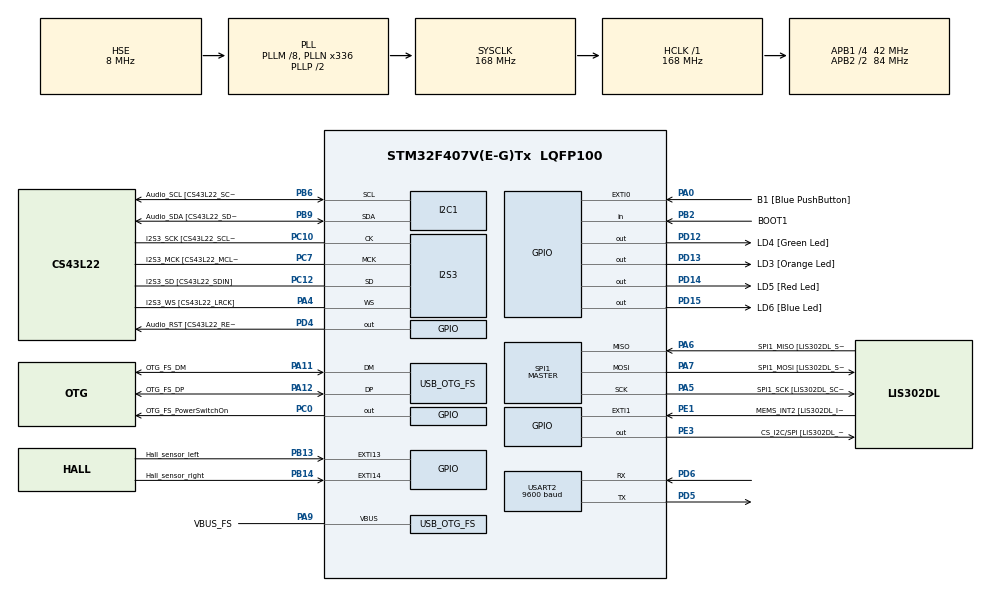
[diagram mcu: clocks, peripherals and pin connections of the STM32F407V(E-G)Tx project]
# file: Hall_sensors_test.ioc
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I2S3.AudioFreq-Half_Duplex_Master=I2S_AUDIOFREQ_96K
I2S3.ErrorAudioFreq=-2.34 %
I2S3.ErrorAudioFreq-Half_Duplex_Master=0.8 %
I2S3.FullDuplexMode=I2S_FULLDUPLEXMODE_DISABLE
I2S3.Instance=SPI$Index
I2S3.RealAudioFreq=93.75 KHz
I2S3.RealAudioFreq-Half_Duplex_Master=96.774 KHz
I2S3.VirtualMode=I2S_MODE_MASTER
Mcu.Family=STM32F4
Mcu.Name=STM32F407V(E-G)Tx
Mcu.Package=LQFP100
NVIC.EXTI15_10_IRQn=true\:0\:0\:false\:false\:true\:true\:true\:true
NVIC.OTG_FS_IRQn=true\:0\:0\:false\:false\:true\:true\:true\:true
NVIC.PriorityGroup=NVIC_PRIORITYGROUP_0
PA0-WKUP.GPIO_Label=B1 [Blue PushButton]
PA0-WKUP.GPIO_ModeDefaultEXTI=GPIO_MODE_EVT_RISING
PA0-WKUP.GPIO_PuPd=GPIO_NOPULL
PA0-WKUP.Signal=GPXTI0
PA10.GPIO_Label=OTG_FS_ID
PA10.GPIO_Mode=GPIO_MODE_AF_PP
PA10.GPIO_PuPd=GPIO_NOPULL
PA10.GPIO_Speed=GPIO_SPEED_FREQ_LOW
PA10.Signal=USB_OTG_FS_ID
PA11.GPIO_Label=OTG_FS_DM
PA11.GPIO_Mode=GPIO_MODE_AF_PP
PA11.GPIO_PuPd=GPIO_NOPULL
PA11.GPIO_Speed=GPIO_SPEED_FREQ_LOW
PA11.Mode=Host_Only
PA11.Signal=USB_OTG_FS_DM
PA12.GPIO_Label=OTG_FS_DP
PA12.GPIO_Mode=GPIO_MODE_AF_PP
PA12.GPIO_PuPd=GPIO_NOPULL
PA12.GPIO_Speed=GPIO_SPEED_FREQ_LOW
PA12.Mode=Host_Only
PA12.Signal=USB_OTG_FS_DP
PA13.GPIO_Label=SWDIO
PA13.Mode=Serial_Wire
PA13.Signal=SYS_JTMS-SWDIO
PA14.GPIO_Label=SWCLK
PA14.Mode=Serial_Wire
PA14.Signal=SYS_JTCK-SWCLK
PA4.GPIO_Label=I2S3_WS [CS43L22_LRCK]
PA4.GPIO_Mode=GPIO_MODE_AF_PP
PA4.GPIO_PuPd=GPIO_NOPULL
PA4.GPIO_Speed=GPIO_SPEED_FREQ_LOW
PA4.Mode=Half_Duplex_Master
PA4.Signal=I2S3_WS
PA5.GPIO_Label=SPI1_SCK [LIS302DL_SCL/SPC]
PA5.GPIO_Mode=GPIO_MODE_AF_PP
PA5.GPIO_PuPd=GPIO_NOPULL
PA5.GPIO_Speed=GPIO_SPEED_FREQ_LOW
PA5.Mode=Full_Duplex_Master
PA5.Signal=SPI1_SCK
PA6.GPIO_Label=SPI1_MISO [LIS302DL_SDO]
PA6.GPIO_Mode=GPIO_MODE_AF_PP
PA6.GPIO_PuPd=GPIO_NOPULL
PA6.GPIO_Speed=GPIO_SPEED_FREQ_LOW
PA6.Mode=Full_Duplex_Master
PA6.Signal=SPI1_MISO
PA7.GPIO_Label=SPI1_MOSI [LIS302DL_SDA/SDI/SDO]
PA7.GPIO_Mode=GPIO_MODE_AF_PP
PA7.GPIO_PuPd=GPIO_NOPULL
PA7.GPIO_Speed=GPIO_SPEED_FREQ_LOW
PA7.Mode=Full_Duplex_Master
PA7.Signal=SPI1_MOSI
PA9.GPIO_Label=VBUS_FS
PA9.GPIO_Mode=GPIO_MODE_INPUT
PA9.GPIO_PuPd=GPIO_NOPULL
PA9.Mode=Activate_VBUS
PA9.Signal=USB_OTG_FS_VBUS
PB10.GPIO_Label=CLK_IN [MP45DT02_CLK]
PB10.GPIO_Mode=GPIO_MODE_AF_PP
PB10.GPIO_PuPd=GPIO_NOPULL
PB10.GPIO_Speed=GPIO_SPEED_FREQ_LOW
PB10.Signal=I2S2_CK
PB13.GPIO_Label=Hall_sensor_left
PB13.GPIO_PuPd=GPIO_PULLUP
PB13.Signal=GPXTI13
PB14.GPIO_Label=Hall_sensor_right
PB14.GPIO_PuPd=GPIO_PULLUP
PB14.Signal=GPXTI14
PB2.GPIO_Label=BOOT1
PB2.GPIO_Mode=GPIO_MODE_INPUT
PB2.GPIO_PuPd=GPIO_NOPULL
PB2.Signal=GPIO_Input
PB3.GPIO_Label=SWO
PB3.Signal=SYS_JTDO-SWO
PB6.GPIO_Label=Audio_SCL [CS43L22_SCL]
PB6.GPIO_Mode=GPIO_MODE_AF_OD
PB6.GPIO_Pu=GPIO_PULLUP
PB6.GPIO_PuPd=GPIO_NOPULL
PB6.GPIO_Speed=GPIO_SPEED_FREQ_LOW
PB6.Mode=I2C
PB6.Signal=I2C1_SCL
PB9.GPIO_Label=Audio_SDA [CS43L22_SDA]
PB9.GPIO_Mode=GPIO_MODE_AF_OD
PB9.GPIO_Pu=GPIO_PULLUP
PB9.GPIO_PuPd=GPIO_NOPULL
PB9.GPIO_Speed=GPIO_SPEED_FREQ_LOW
PB9.Mode=I2C
PB9.Signal=I2C1_SDA
PC0.GPIO_Label=OTG_FS_PowerSwitchOn
PC0.GPIO_PuPd=GPIO_NOPULL
PC0.GPIO_Speed=GPIO_SPEED_FREQ_LOW
PC0.PinState=GPIO_PIN_SET
PC0.Signal=GPIO_Output
PC10.GPIO_Label=I2S3_SCK [CS43L22_SCLK]
PC10.GPIO_Mode=GPIO_MODE_AF_PP
PC10.GPIO_PuPd=GPIO_NOPULL
PC10.GPIO_Speed=GPIO_SPEED_FREQ_LOW
PC10.Mode=Half_Duplex_Master
PC10.Signal=I2S3_CK
PC12.GPIO_Label=I2S3_SD [CS43L22_SDIN]
PC12.GPIO_Mode=GPIO_MODE_AF_PP
PC12.GPIO_PuPd=GPIO_NOPULL
PC12.GPIO_Speed=GPIO_SPEED_FREQ_LOW
PC12.Mode=Half_Duplex_Master
PC12.Signal=I2S3_SD
PC14-OSC32_IN.GPIO_Label=PC14-OSC32_IN
PC14-OSC32_IN.Mode=LSE-External-Oscillator
PC14-OSC32_IN.Signal=RCC_OSC32_IN
PC15-OSC32_OUT.GPIO_Label=PC15-OSC32_OUT
PC15-OSC32_OUT.Mode=LSE-External-Oscillator
PC15-OSC32_OUT.Signal=RCC_OSC32_OUT
PC3.GPIO_Label=PDM_OUT [MP45DT02_DOUT]
PC3.GPIO_Mode=GPIO_MODE_AF_PP
PC3.GPIO_PuPd=GPIO_NOPULL
PC3.GPIO_Speed=GPIO_SPEED_FREQ_LOW
PC3.Signal=I2S2_SD
PC7.GPIO_Label=I2S3_MCK [CS43L22_MCLK]
PC7.GPIO_Mode=GPIO_MODE_AF_PP
PC7.GPIO_PuPd=GPIO_NOPULL
PC7.GPIO_Speed=GPIO_SPEED_FREQ_LOW
PC7.Mode=Master_Clock_Activated
PC7.Signal=I2S3_MCK
PD12.GPIO_Label=LD4 [Green Led]
PD12.GPIO_PuPd=GPIO_NOPULL
PD12.GPIO_Speed=GPIO_SPEED_FREQ_LOW
PD12.Signal=GPIO_Output
PD13.GPIO_Label=LD3 [Orange Led]
PD13.GPIO_PuPd=GPIO_NOPULL
PD13.GPIO_Speed=GPIO_SPEED_FREQ_LOW
PD13.Signal=GPIO_Output
PD14.GPIO_Label=LD5 [Red Led]
PD14.GPIO_PuPd=GPIO_NOPULL
PD14.GPIO_Speed=GPIO_SPEED_FREQ_LOW
PD14.Signal=GPIO_Output
PD15.GPIO_Label=LD6 [Blue Led]
PD15.GPIO_PuPd=GPIO_NOPULL
PD15.GPIO_Speed=GPIO_SPEED_FREQ_LOW
PD15.Signal=GPIO_Output
PD4.GPIO_Label=Audio_RST [CS43L22_RESET]
PD4.GPIO_PuPd=GPIO_NOPULL
PD4.GPIO_Speed=GPIO_SPEED_FREQ_LOW
PD4.Signal=GPIO_Output
PD5.Mode=Asynchronous
PD5.Signal=USART2_TX
PD6.Mode=Asynchronous
PD6.Signal=USART2_RX
PE1.GPIO_Label=MEMS_INT2 [LIS302DL_INT2]
PE1.GPIO_ModeDefaultEXTI=GPIO_MODE_EVT_RISING
PE1.GPIO_PuPd=GPIO_NOPULL
PE1.Signal=GPXTI1
PE3.GPIO_Label=CS_I2C/SPI [LIS302DL_CS_I2C/SPI]
PE3.GPIO_PuPd=GPIO_NOPULL
PE3.GPIO_Speed=GPIO_SPEED_FREQ_LOW
PE3.Signal=GPIO_Output
PH0-OSC_IN.GPIO_Label=PH0-OSC_IN
PH0-OSC_IN.Mode=HSE-External-Oscillator
PH0-OSC_IN.Signal=RCC_OSC_IN
PH1-OSC_OUT.GPIO_Label=PH1-OSC_OUT
PH1-OSC_OUT.Mode=HSE-External-Oscillator
PH1-OSC_OUT.Signal=RCC_OSC_OUT
ProjectManager.HeapSize=0x200
ProjectManager.StackSize=0x400
ProjectManager.TargetToolchain=CMake
RCC.48MHZClocksFreq_Value=48000000
RCC.AHBFreq_Value=168000000
RCC.APB1CLKDivider=RCC_HCLK_DIV4
RCC.APB1Freq_Value=42000000
RCC.APB1TimFreq_Value=84000000
RCC.APB2CLKDivider=RCC_HCLK_DIV2
RCC.APB2Freq_Value=84000000
RCC.APB2TimFreq_Value=168000000
RCC.CortexFreq_Value=168000000
RCC.HCLKFreq_Value=168000000
RCC.HSE_VALUE=8000000
RCC.HSI_VALUE=16000000
RCC.PLLM=8
RCC.PLLN=336
RCC.PLLQ=7
RCC.SYSCLKFreq_VALUE=168000000
RCC.SYSCLKSource=RCC_SYSCLKSOURCE_PLLCLK
RCC.VCOOutputFreq_Value=336000000
SPI1.BaudRatePrescaler-Full_Duplex_Master=SPI_BAUDRATEPRESCALER_2
SPI1.CalculateBaudRate-Full_Duplex_Master=42.0 MBits/s
SPI1.Direction=SPI_DIRECTION_2LINES
SPI1.Mode=SPI_MODE_MASTER
SPI1.Mode-Full_Duplex_Master=SPI_MODE_MASTER
SPI1.VirtualType=VM_MASTER
USART2.BaudRate=9600
USART2.VirtualMode=VM_ASYNC
USB_HOST.BSP.number=1
USB_HOST.USBH_HandleTypeDef-CDC_FS=hUsbHostFS
USB_HOST.VirtualModeFS=Cdc
USB_HOST0.BSP.STBoard=false
USB_HOST0.BSP.api=Unknown
USB_HOST0.BSP.instance=PC0
USB_HOST0.BSP.ip=GPIO
USB_HOST0.BSP.mode=Output
USB_HOST0.BSP.name=Drive_VBUS_FS
USB_HOST0.BSP.solution=PC0
USB_OTG_FS.VirtualMode=Host_Only
USB_OTG_FS.phy_itface=HCD_PHY_EMBEDDED
VP_USB_HOST_VS_USB_HOST_CDC_FS.Mode=CDC_FS
board=STM32F407G-DISC1

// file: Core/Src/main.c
/* USER CODE BEGIN Header */
/**
 ******************************************************************************
 * @file           : main.c
 * @brief          : Main program body
 ******************************************************************************
 * @attention
 *
 * Copyright (c) 2026 STMicroelectronics.
 * All rights reserved.
 *
 * This software is licensed under terms that can be found in the LICENSE file
 * in the root directory of this software component.
 * If no LICENSE file comes with this software, it is provided AS-IS.
 *
 ******************************************************************************
 */
/* USER CODE END Header */
#include "main.h"
#include "usb_host.h"

/* USER CODE BEGIN Includes */
#include <stdio.h>
#include <string.h>
/* USER CODE END Includes */

/* USER CODE BEGIN PD */

#define MAGNETS_PER_REVOLUTION 2 // How many magnets are attached to each wheel
#define WHEEL_DIAMETER 0.065f // 6.5 cm wheel
#define PI 3.14159265358979323846f

/* USER CODE END PD */

I2C_HandleTypeDef hi2c1;

I2S_HandleTypeDef hi2s3;

SPI_HandleTypeDef hspi1;

UART_HandleTypeDef huart2;

void SystemClock_Config(void);
static void MX_GPIO_Init(void);
static void MX_I2C1_Init(void);
static void MX_I2S3_Init(void);
static void MX_SPI1_Init(void);
static void MX_USART2_UART_Init(void);
void MX_USB_HOST_Process(void);

/* USER CODE BEGIN 0 */
uint8_t rxData;
volatile uint32_t pulse_left = 0;
volatile uint32_t pulse_right = 0;
uint32_t last_tick;

/* USER CODE END 0 */

int main(void)
{

  /* MCU Configuration--------------------------------------------------------*/

  /* Reset of all peripherals, Initializes the Flash interface and the Systick. */
  HAL_Init();

  /* Configure the system clock */
  SystemClock_Config();

  /* Initialize all configured peripherals */
  MX_GPIO_Init();
  MX_I2C1_Init();
  MX_I2S3_Init();
  MX_SPI1_Init();
  MX_USART2_UART_Init();
  MX_USB_HOST_Init();
  /* USER CODE BEGIN 2 */
  last_tick = HAL_GetTick();
  char buffer[50];
  HAL_UART_Receive_IT(&huart2, &rxData, 1);
  /* USER CODE END 2 */

  /* Infinite loop */
  /* USER CODE BEGIN WHILE */
 while (1)
 {
   MX_USB_HOST_Process();
   uint32_t now = HAL_GetTick();
    /* USER CODE END WHILE */

    /* USER CODE BEGIN 3 */
   if ((now - last_tick) >= 1000)
   {
     last_tick = now;

     float rev_left  = (float)pulse_left  / MAGNETS_PER_REVOLUTION;
     float rev_right = (float)pulse_right / MAGNETS_PER_REVOLUTION;

     float rpm_left  = rev_left  * 60.0f;
     float rpm_right = rev_right * 60.0f;

     float circumference = PI * WHEEL_DIAMETER;

     float speed_left  = rev_left  * circumference;  // m/s
     float speed_right = rev_right * circumference;  // m/s

     char buffer[100];
     snprintf(buffer, sizeof(buffer),
         "L: %.2f RPM (%.2f m/s) | R: %.2f RPM (%.2f m/s)\r\n",
         rpm_left, speed_left, rpm_right, speed_right);

     HAL_UART_Transmit(&huart2, (uint8_t*)buffer, strlen(buffer), HAL_MAX_DELAY);

     pulse_left  = 0;
     pulse_right = 0;
   }
 }
  /* USER CODE END 3 */
}

void SystemClock_Config(void)
{
  RCC_OscInitTypeDef RCC_OscInitStruct = {0};
  RCC_ClkInitTypeDef RCC_ClkInitStruct = {0};

  /** Configure the main internal regulator output voltage
  */
  __HAL_RCC_PWR_CLK_ENABLE();
  __HAL_PWR_VOLTAGESCALING_CONFIG(PWR_REGULATOR_VOLTAGE_SCALE1);

  /** Initializes the RCC Oscillators according to the specified parameters
  * in the RCC_OscInitTypeDef structure.
  */
  RCC_OscInitStruct.OscillatorType = RCC_OSCILLATORTYPE_HSE;
  RCC_OscInitStruct.HSEState = RCC_HSE_ON;
  RCC_OscInitStruct.PLL.PLLState = RCC_PLL_ON;
  RCC_OscInitStruct.PLL.PLLSource = RCC_PLLSOURCE_HSE;
  RCC_OscInitStruct.PLL.PLLM = 8;
  RCC_OscInitStruct.PLL.PLLN = 336;
  RCC_OscInitStruct.PLL.PLLP = RCC_PLLP_DIV2;
  RCC_OscInitStruct.PLL.PLLQ = 7;
  if (HAL_RCC_OscConfig(&RCC_OscInitStruct) != HAL_OK)
  {
    Error_Handler();
  }

  /** Initializes the CPU, AHB and APB buses clocks
  */
  RCC_ClkInitStruct.ClockType = RCC_CLOCKTYPE_HCLK|RCC_CLOCKTYPE_SYSCLK
                              |RCC_CLOCKTYPE_PCLK1|RCC_CLOCKTYPE_PCLK2;
  RCC_ClkInitStruct.SYSCLKSource = RCC_SYSCLKSOURCE_PLLCLK;
  RCC_ClkInitStruct.AHBCLKDivider = RCC_SYSCLK_DIV1;
  RCC_ClkInitStruct.APB1CLKDivider = RCC_HCLK_DIV4;
  RCC_ClkInitStruct.APB2CLKDivider = RCC_HCLK_DIV2;

  if (HAL_RCC_ClockConfig(&RCC_ClkInitStruct, FLASH_LATENCY_5) != HAL_OK)
  {
    Error_Handler();
  }
}

static void MX_I2C1_Init(void)
{

  hi2c1.Instance = I2C1;
  hi2c1.Init.ClockSpeed = 100000;
  hi2c1.Init.DutyCycle = I2C_DUTYCYCLE_2;
  hi2c1.Init.OwnAddress1 = 0;
  hi2c1.Init.AddressingMode = I2C_ADDRESSINGMODE_7BIT;
  hi2c1.Init.DualAddressMode = I2C_DUALADDRESS_DISABLE;
  hi2c1.Init.OwnAddress2 = 0;
  hi2c1.Init.GeneralCallMode = I2C_GENERALCALL_DISABLE;
  hi2c1.Init.NoStretchMode = I2C_NOSTRETCH_DISABLE;
  if (HAL_I2C_Init(&hi2c1) != HAL_OK)
  {
    Error_Handler();
  }

}

static void MX_I2S3_Init(void)
{

  hi2s3.Instance = SPI3;
  hi2s3.Init.Mode = I2S_MODE_MASTER_TX;
  hi2s3.Init.Standard = I2S_STANDARD_PHILIPS;
  hi2s3.Init.DataFormat = I2S_DATAFORMAT_16B;
  hi2s3.Init.MCLKOutput = I2S_MCLKOUTPUT_ENABLE;
  hi2s3.Init.AudioFreq = I2S_AUDIOFREQ_96K;
  hi2s3.Init.CPOL = I2S_CPOL_LOW;
  hi2s3.Init.ClockSource = I2S_CLOCK_PLL;
  hi2s3.Init.FullDuplexMode = I2S_FULLDUPLEXMODE_DISABLE;
  if (HAL_I2S_Init(&hi2s3) != HAL_OK)
  {
    Error_Handler();
  }

}

static void MX_SPI1_Init(void)
{

  /* SPI1 parameter configuration*/
  hspi1.Instance = SPI1;
  hspi1.Init.Mode = SPI_MODE_MASTER;
  hspi1.Init.Direction = SPI_DIRECTION_2LINES;
  hspi1.Init.DataSize = SPI_DATASIZE_8BIT;
  hspi1.Init.CLKPolarity = SPI_POLARITY_LOW;
  hspi1.Init.CLKPhase = SPI_PHASE_1EDGE;
  hspi1.Init.NSS = SPI_NSS_SOFT;
  hspi1.Init.BaudRatePrescaler = SPI_BAUDRATEPRESCALER_2;
  hspi1.Init.FirstBit = SPI_FIRSTBIT_MSB;
  hspi1.Init.TIMode = SPI_TIMODE_DISABLE;
  hspi1.Init.CRCCalculation = SPI_CRCCALCULATION_DISABLE;
  hspi1.Init.CRCPolynomial = 10;
  if (HAL_SPI_Init(&hspi1) != HAL_OK)
  {
    Error_Handler();
  }

}

static void MX_USART2_UART_Init(void)
{

  huart2.Instance = USART2;
  huart2.Init.BaudRate = 9600;
  huart2.Init.WordLength = UART_WORDLENGTH_8B;
  huart2.Init.StopBits = UART_STOPBITS_1;
  huart2.Init.Parity = UART_PARITY_NONE;
  huart2.Init.Mode = UART_MODE_TX_RX;
  huart2.Init.HwFlowCtl = UART_HWCONTROL_NONE;
  huart2.Init.OverSampling = UART_OVERSAMPLING_16;
  if (HAL_UART_Init(&huart2) != HAL_OK)
  {
    Error_Handler();
  }

}

static void MX_GPIO_Init(void)
{
  GPIO_InitTypeDef GPIO_InitStruct = {0};

  /* GPIO Ports Clock Enable */
  __HAL_RCC_GPIOE_CLK_ENABLE();
  __HAL_RCC_GPIOC_CLK_ENABLE();
  __HAL_RCC_GPIOH_CLK_ENABLE();
  __HAL_RCC_GPIOA_CLK_ENABLE();
  __HAL_RCC_GPIOB_CLK_ENABLE();
  __HAL_RCC_GPIOD_CLK_ENABLE();

  /*Configure GPIO pin Output Level */
  HAL_GPIO_WritePin(CS_I2C_SPI_GPIO_Port, CS_I2C_SPI_Pin, GPIO_PIN_RESET);

  /*Configure GPIO pin Output Level */
  HAL_GPIO_WritePin(OTG_FS_PowerSwitchOn_GPIO_Port, OTG_FS_PowerSwitchOn_Pin, GPIO_PIN_SET);

  /*Configure GPIO pin Output Level */
  HAL_GPIO_WritePin(GPIOD, LD4_Pin|LD3_Pin|LD5_Pin|LD6_Pin
                          |Audio_RST_Pin, GPIO_PIN_RESET);

  /*Configure GPIO pin : CS_I2C_SPI_Pin */
  GPIO_InitStruct.Pin = CS_I2C_SPI_Pin;
  GPIO_InitStruct.Mode = GPIO_MODE_OUTPUT_PP;
  GPIO_InitStruct.Pull = GPIO_NOPULL;
  GPIO_InitStruct.Speed = GPIO_SPEED_FREQ_LOW;
  HAL_GPIO_Init(CS_I2C_SPI_GPIO_Port, &GPIO_InitStruct);

  /*Configure GPIO pin : OTG_FS_PowerSwitchOn_Pin */
  GPIO_InitStruct.Pin = OTG_FS_PowerSwitchOn_Pin;
  GPIO_InitStruct.Mode = GPIO_MODE_OUTPUT_PP;
  GPIO_InitStruct.Pull = GPIO_NOPULL;
  GPIO_InitStruct.Speed = GPIO_SPEED_FREQ_LOW;
  HAL_GPIO_Init(OTG_FS_PowerSwitchOn_GPIO_Port, &GPIO_InitStruct);

  /*Configure GPIO pin : PDM_OUT_Pin */
  GPIO_InitStruct.Pin = PDM_OUT_Pin;
  GPIO_InitStruct.Mode = GPIO_MODE_AF_PP;
  GPIO_InitStruct.Pull = GPIO_NOPULL;
  GPIO_InitStruct.Speed = GPIO_SPEED_FREQ_LOW;
  GPIO_InitStruct.Alternate = GPIO_AF5_SPI2;
  HAL_GPIO_Init(PDM_OUT_GPIO_Port, &GPIO_InitStruct);

  /*Configure GPIO pin : B1_Pin */
  GPIO_InitStruct.Pin = B1_Pin;
  GPIO_InitStruct.Mode = GPIO_MODE_EVT_RISING;
  GPIO_InitStruct.Pull = GPIO_NOPULL;
  HAL_GPIO_Init(B1_GPIO_Port, &GPIO_InitStruct);

  /*Configure GPIO pin : BOOT1_Pin */
  GPIO_InitStruct.Pin = BOOT1_Pin;
  GPIO_InitStruct.Mode = GPIO_MODE_INPUT;
  GPIO_InitStruct.Pull = GPIO_NOPULL;
  HAL_GPIO_Init(BOOT1_GPIO_Port, &GPIO_InitStruct);

  /*Configure GPIO pin : CLK_IN_Pin */
  GPIO_InitStruct.Pin = CLK_IN_Pin;
  GPIO_InitStruct.Mode = GPIO_MODE_AF_PP;
  GPIO_InitStruct.Pull = GPIO_NOPULL;
  GPIO_InitStruct.Speed = GPIO_SPEED_FREQ_LOW;
  GPIO_InitStruct.Alternate = GPIO_AF5_SPI2;
  HAL_GPIO_Init(CLK_IN_GPIO_Port, &GPIO_InitStruct);

  /*Configure GPIO pins : Hall_sensor_left_Pin Hall_sensor_right_Pin */
  GPIO_InitStruct.Pin = Hall_sensor_left_Pin|Hall_sensor_right_Pin;
  GPIO_InitStruct.Mode = GPIO_MODE_IT_RISING;
  GPIO_InitStruct.Pull = GPIO_PULLUP;
  HAL_GPIO_Init(GPIOB, &GPIO_InitStruct);

  /*Configure GPIO pins : LD4_Pin LD3_Pin LD5_Pin LD6_Pin
                           Audio_RST_Pin */
  GPIO_InitStruct.Pin = LD4_Pin|LD3_Pin|LD5_Pin|LD6_Pin
                          |Audio_RST_Pin;
  GPIO_InitStruct.Mode = GPIO_MODE_OUTPUT_PP;
  GPIO_InitStruct.Pull = GPIO_NOPULL;
  GPIO_InitStruct.Speed = GPIO_SPEED_FREQ_LOW;
  HAL_GPIO_Init(GPIOD, &GPIO_InitStruct);

  /*Configure GPIO pin : MEMS_INT2_Pin */
  GPIO_InitStruct.Pin = MEMS_INT2_Pin;
  GPIO_InitStruct.Mode = GPIO_MODE_EVT_RISING;
  GPIO_InitStruct.Pull = GPIO_NOPULL;
  HAL_GPIO_Init(MEMS_INT2_GPIO_Port, &GPIO_InitStruct);

  /* EXTI interrupt init*/
  HAL_NVIC_SetPriority(EXTI15_10_IRQn, 0, 0);
  HAL_NVIC_EnableIRQ(EXTI15_10_IRQn);

}

/* USER CODE BEGIN 4 */
void HAL_UART_RxCpltCallback(UART_HandleTypeDef *huart)
{
  if(huart->Instance==USART2)
  {
    if(rxData==78) // Ascii value of 'N' is 78 (N for NO)
    {
      HAL_GPIO_WritePin(LD4_GPIO_Port, LD4_Pin, GPIO_PIN_RESET);
    }
    else if (rxData==89) // Ascii value of 'Y' is 89 (Y for YES)
    {
      HAL_GPIO_WritePin(LD4_GPIO_Port, LD4_Pin, GPIO_PIN_SET);
    }
    HAL_UART_Receive_IT(&huart2,&rxData,1); // Enabling interrupt receive again
  }
}

void HAL_GPIO_EXTI_Callback(uint16_t GPIO_Pin)
{
  if (GPIO_Pin == Hall_sensor_left_Pin)
    pulse_left++;

  if (GPIO_Pin == Hall_sensor_right_Pin)
    pulse_right++;
}

/* USER CODE END 4 */

void Error_Handler(void)
{
 __disable_irq();
 while (1)
 {
 }
}
